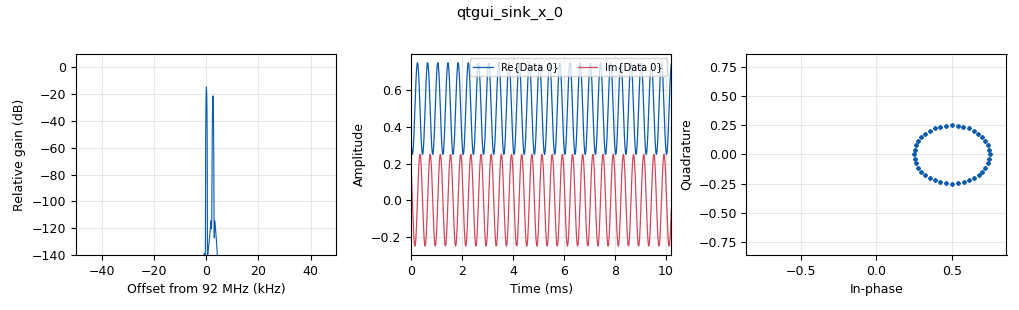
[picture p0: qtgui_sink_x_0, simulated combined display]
options:
  parameters:
    generate_options: qt_gui
    id: PlutoAMTransmit
    output_language: python
    title: Not titled yet
  states: {}

blocks:
- name: samp_rate
  id: variable
  parameters:
    value: '40000'
  states: {}
- name: analog_const_source_x_0
  id: analog_const_source_x
  parameters:
    alias: DC Shift
    const: '1'
    type: complex
  states: {}
- name: analog_sig_source_x_0
  id: analog_sig_source_x
  parameters:
    amp: '1'
    freq: '1000'
    offset: '0'
    phase: '0'
    samp_rate: '40000'
    type: complex
    waveform: analog.GR_COS_WAVE
  states: {}
- name: blocks_add_xx_0
  id: blocks_add_xx
  parameters:
    type: complex
  states: {}
- name: blocks_multiply_const_vxx_0
  id: blocks_multiply_const_vxx
  parameters:
    alias: Modulation Index
    const: '0.5'
    type: complex
  states: {}
- name: blocks_multiply_const_vxx_1
  id: blocks_multiply_const_vxx
  parameters:
    const: '0.5'
    type: complex
  states: {}
- name: qtgui_sink_x_0
  id: qtgui_sink_x
  parameters:
    bw: '100000'
    fc: '92000000'
    fftsize: '1024'
    rate: '5'
    type: complex
  states: {}
- name: soapy_plutosdr_sink_0
  id: soapy_plutosdr_sink
  parameters:
    bandwidth: '100000'
    center_freq: '100000000'
    samp_rate: samp_rate
    type: fc32
  states: {}

connections:
- [analog_const_source_x_0, '0', blocks_add_xx_0, '1']
- [analog_sig_source_x_0, '0', blocks_multiply_const_vxx_0, '0']
- [blocks_add_xx_0, '0', blocks_multiply_const_vxx_1, '0']
- [blocks_multiply_const_vxx_0, '0', blocks_add_xx_0, '0']
- [blocks_multiply_const_vxx_1, '0', qtgui_sink_x_0, '0']
- [blocks_multiply_const_vxx_1, '0', soapy_plutosdr_sink_0, '0']

metadata:
  file_format: 1
  grc_version: 3.10.7.0
